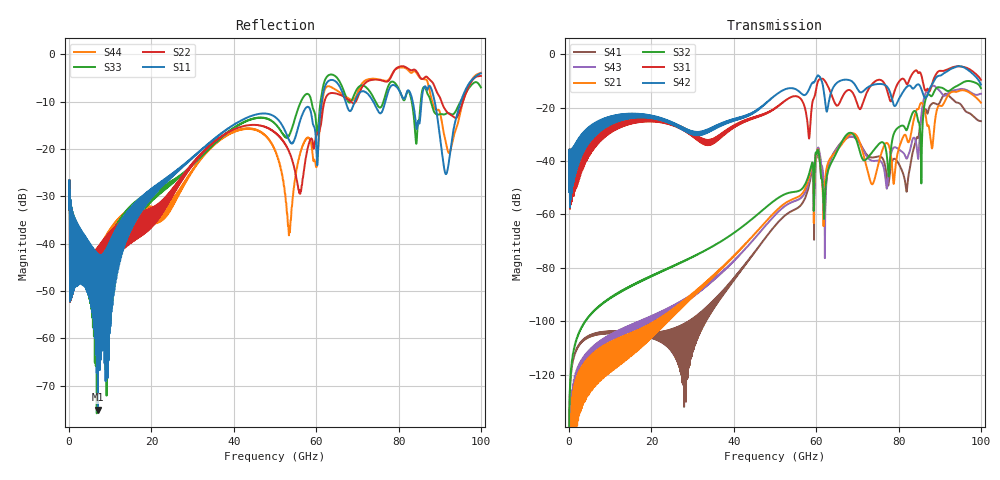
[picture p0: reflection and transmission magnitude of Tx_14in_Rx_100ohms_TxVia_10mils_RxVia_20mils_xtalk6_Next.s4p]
! Info: Touchstone file created by Circ.  Input file=Tx_14in_Rx_100ohms_TxVia_10mils_RxVia_20mils.circ
# Hz S RI R 50
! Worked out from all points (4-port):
!   10000 points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, 10 MHz to 100 GHz, reference 50 ohm
!   strongest paths, dB at 10 MHz, 25.01 GHz, 50.01 GHz, 75.01 GHz, 100 GHz:
!     S42: -51.6, -26.2, -15.4, -11.1, -11.3
!     S31: -51.6, -26.6, -20.1, -9.6, -9.5
!     S32: -144.9, -79.5, -54.6, -34.0, -12.7
!     S21: -160.7, -95.9, -59.0, -41.7, -18.1
!     S43: -146.8, -94.3, -60.2, -39.8, -14.8
!     S41: -145.0, -103.0, -64.2, -38.3, -25.0
!   lowest |S11| = -75.1 dB at 6.97 GHz (marker M1), VSWR 1.00, Z = 50 - j0.00327 ohm
!   |S11| at or under -10 dB: start of sweep to 61.35 GHz; 73.88 GHz to 76.77 GHz (2.896 GHz wide, 3.85 % of centre); 88.79 GHz to 95.12 GHz (6.326 GHz wide, 6.88 % of centre) (the widest 3 of 5)
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1e7  0.0216 0.0081  5.5e-09 7.37e-09  0.000976 0.00245  1.65e-08 5.37e-08
     5.5e-09 7.37e-09  0.0216 0.00809  -2.54e-10 5.72e-08  0.000973 0.00245
     0.000976 0.00245  -2.54e-10 5.72e-08  0.0214 0.00813  -7.6e-09 4.5e-08
     1.65e-08 5.37e-08  0.000973 0.00245  -7.6e-09 4.5e-08  0.0214 0.00813
6.97e9  0.000173 -3.27e-05  1.75e-06 2.39e-06  0.0207 0.0333  -2.81e-07 6.05e-06
        1.75e-06 2.39e-06  0.00809 0.00431  1.03e-05 1.53e-05  0.0317 0.0342
        0.0207 0.0333  1.03e-05 1.53e-05  0.000377 0.000417  2.36e-06 3.24e-06
        -2.81e-07 6.05e-06  0.0317 0.0342  2.36e-06 3.24e-06  0.00721 0.00462
3.827e10  0.0971 0.1288  4.3e-05 -0.000112  0.0095 0.0326  2e-05 -3.27e-05
          4.3e-05 -0.000112  0.1394 0.0496  -6.61e-05 -0.000361  0.0461 0.0226
          0.0095 0.0326  -6.61e-05 -0.000361  0.0769 0.1243  -2.01e-05 -9.63e-05
          2e-05 -3.27e-05  0.0461 0.0226  -2.01e-05 -9.63e-05  0.1251 0.0587
6.038e10  0.0705 -0.0348  0.0131 -0.0101  0.00934 0.3017  0.00929 -0.0127
          0.0131 -0.0101  0.1498 0.00316  0.0125 -0.0104  0.4002 -0.0107
          0.00934 0.3017  0.0125 -0.0104  0.1096 -0.1007  0.00944 -0.0146
          0.00929 -0.0127  0.4002 -0.0107  0.00944 -0.0146  0.0781 -0.0339
7.71e10  -0.208 0.2899  -0.0219 -0.00179  0.055 -0.2194  -0.0042 -0.00347
         -0.0219 -0.00179  0.2965 -0.4204  -0.00627 -0.0123  -0.2511 0.0311
         0.055 -0.2194  -0.00627 -0.0123  -0.2385 0.3347  -0.00313 8.19e-06
         -0.0042 -0.00347  -0.2511 0.0311  -0.00313 8.19e-06  0.3303 -0.4086
8.801e10  -0.0153 -0.4269  0.0131 -0.0132  -0.0992 0.2391  0.0956 0.0672
          0.0131 -0.0132  -0.3227 0.4078  -0.0036 0.1639  0.114 0.2355
          -0.0992 0.2391  -0.0036 0.1639  -0.2538 -0.158  0.1651 0.1829
          0.0956 0.0672  0.114 0.2355  0.1651 0.1829  -0.1794 0.2874
1e11  -0.6302 0.0179  0.0979 -0.0765  0.0719 0.3257  -0.0516 -0.0216
      0.0979 -0.0765  -0.591 0.0387  0.119 0.1993  0.0989 0.2526
      0.0719 0.3257  0.119 0.1993  -0.4414 0.0762  0.1203 -0.1374
      -0.0516 -0.0216  0.0989 0.2526  0.1203 -0.1374  -0.6321 0.0866
